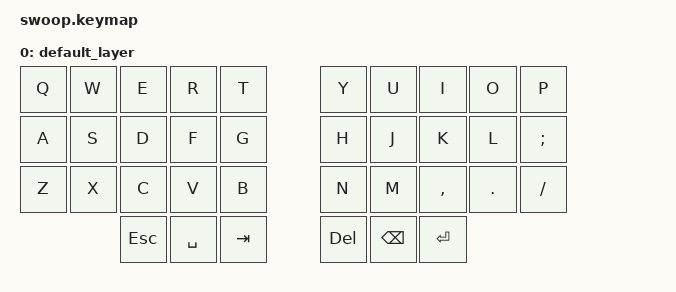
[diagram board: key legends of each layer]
/*
 * Copyright (c) 2020 The ZMK Contributors
 *
 * SPDX-License-Identifier: MIT
 */

#include <behaviors.dtsi>
#include <dt-bindings/zmk/keys.h>
#include <dt-bindings/zmk/bt.h>

/ {
    keymap {
        compatible = "zmk,keymap";
        default_layer {
            bindings = <
                &kp Q    &kp W    &kp E    &kp R    &kp T                         &kp Y    &kp U    &kp I     &kp O    &kp P
                &kp A    &kp S    &kp D    &kp F    &kp G                         &kp H    &kp J    &kp K     &kp L    &kp SEMI
                &kp Z    &kp X    &kp C    &kp V    &kp B                         &kp N    &kp M    &kp COMMA &kp DOT  &kp FSLH
                                           &kp ESC  &kp SPACE &kp TAB     &kp DEL &kp BSPC &kp RET
            >;
        };
    };
};
